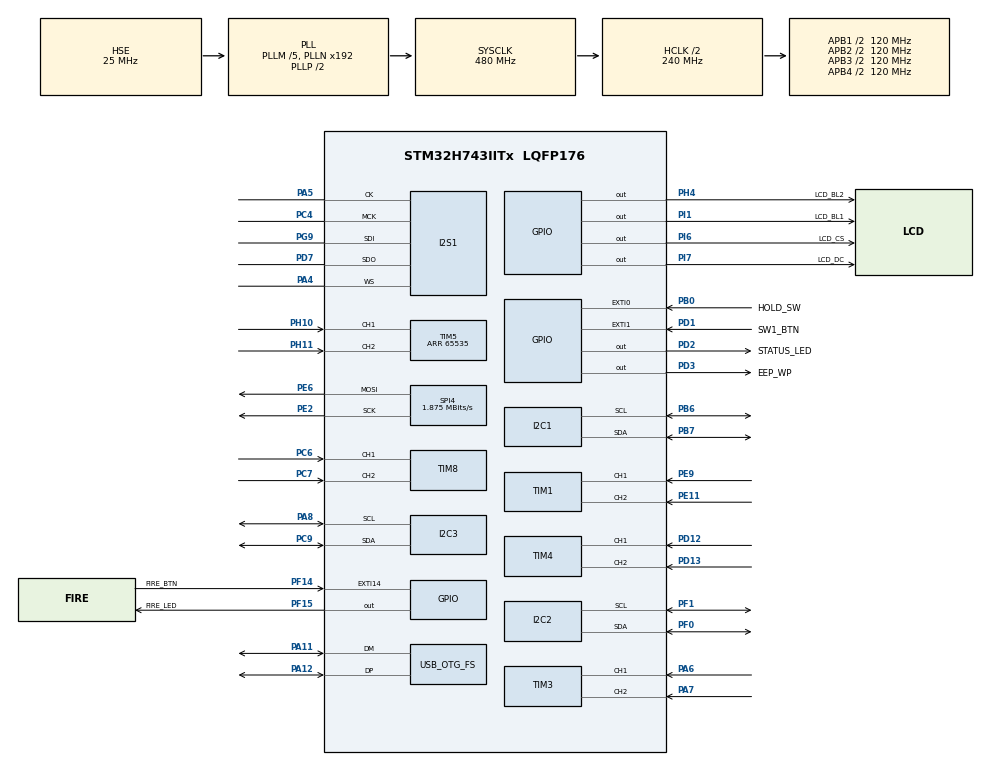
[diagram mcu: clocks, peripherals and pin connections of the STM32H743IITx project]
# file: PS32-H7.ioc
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PD7.Mode=Full_Duplex_Master
Dma.SPI1_TX.0.PeriphInc=DMA_PINC_DISABLE
SPI4.VirtualType=VM_MASTER
I2S1.ErrorAudioFreq=-2.34 %
PI6.GPIO_Label=LCD_CS
RCC.DATA_CACHE_ENABLE=1
I2S1.Instance=SPI$Index
PH10.GPIO_PuPd=GPIO_PULLUP
RCC.SYSCLKSource=RCC_SYSCLKSOURCE_PLLCLK
PD1.GPIO_ModeDefaultEXTI=GPIO_MODE_IT_RISING_FALLING
PA14\ (JTCK/SWCLK).Signal=DEBUG_JTCK-SWCLK
NVIC.EXTI1_IRQn=true\:0\:0\:false\:false\:true\:true\:false
PA4.Mode=Full_Duplex_Master
NVIC.TIM5_IRQn=true\:0\:0\:false\:false\:true\:true\:false
PE2.Mode=TX_Only_Simplex_Unidirect_Master
PB6.Signal=I2C1_SCL
PC7.Signal=S_TIM8_CH2
PB6.Mode=I2C
RCC.PREFETCH_ENABLE=1
RCC.DIVM1=5
PD1.GPIO_Label=SW1_BTN
PE9.Signal=S_TIM1_CH1
PI6.Signal=GPIO_Output
PC9.Mode=I2C
SH.S_TIM4_CH2.0=TIM4_CH2,Encoder_Interface
PE2.Signal=SPI4_SCK
PA8.Signal=I2C3_SCL
PA14\ (JTCK/SWCLK).Mode=Trace_Asynchronous_SW
Dma.SPI1_TX.0.RequestNumber=1
Dma.SPI1_TX.0.Polarity=HAL_DMAMUX_REQ_GEN_RISING
PF1.GPIO_Speed=GPIO_SPEED_FREQ_VERY_HIGH
Dma.SPI1_TX.0.Mode=DMA_CIRCULAR
Mcu.Package=LQFP176
Dma.SPI1_TX.0.SyncEnable=DISABLE
PD12.Signal=S_TIM4_CH1
PC6.GPIO_PuPd=GPIO_PULLUP
SH.S_TIM4_CH1.0=TIM4_CH1,Encoder_Interface
RCC.APB4Freq_Value=120000000
PF14.Signal=GPXTI14
PF15.PinState=GPIO_PIN_RESET
PH0-OSC_IN\ (PH0).Mode=HSE-External-Oscillator
PC4.Mode=Master_Clock_Activated
PA5.Mode=Full_Duplex_Master
RCC.DIVQ1=8
USB_DEVICE.VirtualMode-AUDIO_FS=Audio
PG9.Signal=I2S1_SDI
PD3.Signal=GPIO_Output
PG9.Mode=Full_Duplex_Master
PC6.Signal=S_TIM8_CH1
PD7.Signal=I2S1_SDO
PD1.Signal=GPXTI1
PF14.GPIO_Label=FIRE_BTN
SH.S_TIM8_CH2.0=TIM8_CH2,Encoder_Interface
PF1.Mode=I2C
Dma.SPI1_TX.0.FIFOMode=DMA_FIFOMODE_ENABLE
I2C1.Timing=0x307075B1
RCC.DIVN1=192
Dma.SPI1_TX.0.SyncPolarity=HAL_DMAMUX_SYNC_NO_EVENT
PC7.GPIO_PuPd=GPIO_PULLUP
RCC.USBCLockSelection=RCC_USBCLKSOURCE_HSI48
PA5.Signal=I2S1_CK
SH.S_TIM8_CH1.0=TIM8_CH1,Encoder_Interface
NVIC.TIM3_IRQn=true\:0\:0\:false\:false\:true\:true\:false
PI7.Signal=GPIO_Output
PE6.Mode=TX_Only_Simplex_Unidirect_Master
PI1.Signal=GPIO_Output
PF14.GPIO_ModeDefaultEXTI=GPIO_MODE_IT_RISING_FALLING
Dma.SPI1_TX.0.Instance=DMA1_Stream0
I2S1.FullDuplexMode=I2S_MODE_MASTER_FD
NVIC.TIM1_CC_IRQn=true\:0\:0\:false\:false\:true\:true\:false
PA4.Signal=I2S1_WS
PA11.Signal=USB_OTG_FS_DM
ProjectManager.HeapSize=0x200
NVIC.TIM8_UP_TIM13_IRQn=true\:0\:0\:false\:false\:true\:true\:true
NVIC.PriorityGroup=NVIC_PRIORITYGROUP_4
PB3\ (JTDO/TRACESWO).Mode=Trace_Asynchronous_SW
Dma.SPI1_TX.0.PeriphBurst=DMA_PBURST_SINGLE
PA8.Mode=I2C
PD2.Signal=GPIO_Output
PB0.Signal=GPXTI0
PD2.GPIO_Label=STATUS_LED
PA13\ (JTMS/SWDIO).Signal=DEBUG_JTMS-SWDIO
PI1.GPIO_Label=LCD_BL1
Mcu.Family=STM32H7
Dma.SPI1_TX.0.MemInc=DMA_MINC_ENABLE
USB_DEVICE.CLASS_NAME_FS=AUDIO
Dma.SPI1_TX.0.EventEnable=DISABLE
RCC.CortexFreq_Value=480000000
PH10.Signal=S_TIM5_CH1
RCC.HPRE=RCC_HCLK_DIV2
PH0-OSC_IN\ (PH0).Signal=RCC_OSC_IN
TIM4.EncoderMode=TIM_ENCODERMODE_TI12
TIM5.EncoderMode=TIM_ENCODERMODE_TI12
SPI4.Direction=SPI_DIRECTION_2LINES_TXONLY
I2C2.Timing=0x307075B1
TIM3.EncoderMode=TIM_ENCODERMODE_TI12
SH.S_TIM5_CH2.0=TIM5_CH2,Encoder_Interface
TIM1.EncoderMode=TIM_ENCODERMODE_TI12
TIM8.EncoderMode=TIM_ENCODERMODE_TI12
PA11.Mode=Device_Only
PB0.GPIO_Label=HOLD_SW
Dma.SPI1_TX.0.SyncRequestNumber=1
ProjectManager.StackSize=0x400
PH11.GPIO_PuPd=GPIO_PULLUP
PD13.Signal=S_TIM4_CH2
PA12.Signal=USB_OTG_FS_DP
SPI4.Mode=SPI_MODE_MASTER
PE11.GPIO_PuPd=GPIO_PULLUP
RCC.HCLKFreq_Value=240000000
PH1-OSC_OUT\ (PH1).Mode=HSE-External-Oscillator
PA6.GPIO_PuPd=GPIO_PULLUP
PB7.Signal=I2C1_SDA
SH.S_TIM3_CH1.0=TIM3_CH1,Encoder_Interface
SPI4.BaudRatePrescaler=SPI_BAUDRATEPRESCALER_64
RCC.APB3Freq_Value=120000000
PA6.Signal=S_TIM3_CH1
RCC.D1PPRE=RCC_APB3_DIV2
I2S1.FirstBit=I2S_FIRSTBIT_LSB
NVIC.OTG_FS_IRQn=true\:0\:0\:false\:false\:true\:false\:true
USB_OTG_FS.VirtualMode=Device_Only
I2C3.Timing=0x307075B1
SH.S_TIM5_CH1.0=TIM5_CH1,Encoder_Interface
NVIC.DMA1_Stream0_IRQn=true\:0\:0\:false\:false\:true\:false\:true
PF0.Signal=I2C2_SDA
PD3.GPIO_Label=EEP_WP
Dma.SPI1_TX.0.SyncSignalID=NONE
Dma.Request0=SPI1_TX
RCC.PLLSourceVirtual=RCC_PLLSOURCE_HSE
PA13\ (JTMS/SWDIO).Mode=Trace_Asynchronous_SW
PH11.Signal=S_TIM5_CH2
SPI4.DataSize=SPI_DATASIZE_8BIT
USB_DEVICE.VirtualModeFS=Audio_FS
PC4.Signal=I2S1_MCK
RCC.D2PPRE2=RCC_APB2_DIV2
RCC.D2PPRE1=RCC_APB1_DIV2
I2S1.AudioFreq=I2S_AUDIOFREQ_48K
Dma.SPI1_TX.0.MemBurst=DMA_MBURST_SINGLE
VP_RNG_VS_RNG.Mode=RNG_Activate
PH1-OSC_OUT\ (PH1).Signal=RCC_OSC_OUT
Dma.SPI1_TX.0.SignalID=NONE
PF0.GPIO_Speed=GPIO_SPEED_FREQ_VERY_HIGH
Dma.SPI1_TX.0.FIFOThreshold=DMA_FIFO_THRESHOLD_FULL
NVIC.TIM8_CC_IRQn=true\:0\:0\:false\:false\:true\:true\:false
SH.S_TIM1_CH1.0=TIM1_CH1,Encoder_Interface
PH4.Signal=GPIO_Output
PB3\ (JTDO/TRACESWO).Signal=DEBUG_JTDO-SWO
ProjectManager.TargetToolchain=STM32CubeIDE
Dma.SPI1_TX.0.PeriphDataAlignment=DMA_PDATAALIGN_HALFWORD
Dma.SPI1_TX.0.Direction=DMA_MEMORY_TO_PERIPH
I2S1.VirtualMode=I2S_MODE_MASTER
RCC.USBFreq_Value=48000000
PE11.Signal=S_TIM1_CH2
PA7.GPIO_PuPd=GPIO_PULLUP
SH.S_TIM3_CH2.0=TIM3_CH2,Encoder_Interface
PD2.PinState=GPIO_PIN_RESET
board=custom
PH4.GPIO_Label=LCD_BL2
RCC.APB2Freq_Value=120000000
SH.S_TIM1_CH2.0=TIM1_CH2,Encoder_Interface
RCC.INSTRUCTION_CACHE_ENABLE=1
RCC.ADCFreq_Value=50390625
PF1.GPIO_PuPd=GPIO_PULLUP
PF15.GPIO_Label=FIRE_LED
PI7.GPIO_Label=LCD_DC
PD13.GPIO_PuPd=GPIO_PULLUP
PF15.Signal=GPIO_Output
SPI4.CalculateBaudRate=1.875 MBits/s
PF1.Signal=I2C2_SCL
VP_USB_DEVICE_VS_USB_DEVICE_AUDIO_FS.Mode=AUDIO_FS
PE6.Signal=SPI4_MOSI
Mcu.Name=STM32H743IITx
RCC.SYSCLKFreq_VALUE=480000000
PF0.GPIO_PuPd=GPIO_PULLUP
PA12.Mode=Device_Only
PB7.Mode=I2C
Dma.SPI1_TX.0.Priority=DMA_PRIORITY_LOW
Dma.SPI1_TX.0.MemDataAlignment=DMA_MDATAALIGN_HALFWORD
PF0.Mode=I2C
RCC.D3PPRE=RCC_APB4_DIV2
TIM5.Period=65535
PC9.Signal=I2C3_SDA
I2S1.RealAudioFreq=46.875 KHz
NVIC.TIM4_IRQn=true\:0\:0\:false\:false\:true\:true\:false
RCC.APB1Freq_Value=120000000
PD12.GPIO_PuPd=GPIO_PULLUP
PA7.Signal=S_TIM3_CH2
PE9.GPIO_PuPd=GPIO_PULLUP

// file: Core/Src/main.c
/* USER CODE BEGIN Header */
/**
  ******************************************************************************
  * @file           : main.c
  * @brief          : Main program body
  ******************************************************************************
  * @attention
  *
  * <h2><center>&copy; Copyright (c) 2021 STMicroelectronics.
  * All rights reserved.</center></h2>
  *
  * This software component is licensed by ST under BSD 3-Clause license,
  * the "License"; You may not use this file except in compliance with the
  * License. You may obtain a copy of the License at:
  *                        opensource.org/licenses/BSD-3-Clause
  *
  ******************************************************************************
  */
/* USER CODE END Header */
#include "main.h"
#include "usb_device.h"

/* USER CODE BEGIN Includes */
#include "maincpp.h"
/* USER CODE END Includes */

I2C_HandleTypeDef hi2c1;
I2C_HandleTypeDef hi2c2;
I2C_HandleTypeDef hi2c3;

I2S_HandleTypeDef hi2s1;
DMA_HandleTypeDef hdma_spi1_tx;

RNG_HandleTypeDef hrng;

TIM_HandleTypeDef htim1;
SPI_HandleTypeDef hspi4;

TIM_HandleTypeDef htim3;
TIM_HandleTypeDef htim4;
TIM_HandleTypeDef htim5;
TIM_HandleTypeDef htim8;

void SystemClock_Config(void);
static void MX_GPIO_Init(void);
static void MX_DMA_Init(void);
static void MX_I2C1_Init(void);
static void MX_I2C2_Init(void);
static void MX_RNG_Init(void);
static void MX_TIM1_Init(void);
static void MX_TIM3_Init(void);
static void MX_TIM4_Init(void);
static void MX_TIM5_Init(void);
static void MX_I2S1_Init(void);
static void MX_SPI4_Init(void);
static void MX_TIM8_Init(void);
static void MX_I2C3_Init(void);

/* USER CODE BEGIN 0 */
int nLoop = 0;

bool demoMode = true;
bool freeze = false;
bool sequencerIsOn = false;
/* USER CODE END 0 */

int main(void)
{

  /* MCU Configuration--------------------------------------------------------*/

  /* Reset of all peripherals, Initializes the Flash interface and the Systick. */
  HAL_Init();

  /* Configure the system clock */
  SystemClock_Config();

  /* Initialize all configured peripherals */
  MX_GPIO_Init();
  MX_DMA_Init();
  MX_I2C1_Init();
  MX_I2C2_Init();
  MX_RNG_Init();
  MX_TIM1_Init();
  MX_TIM3_Init();
  MX_TIM4_Init();
  MX_TIM5_Init();
  MX_USB_DEVICE_Init();
  MX_I2S1_Init();
  MX_SPI4_Init();
  MX_TIM8_Init();
  MX_I2C3_Init();
  /* USER CODE BEGIN 2 */

  HAL_GPIO_WritePin(LCD_BL1_GPIO_Port, LCD_BL1_Pin, GPIO_PIN_SET);
  HAL_GPIO_WritePin(LCD_BL2_GPIO_Port, LCD_BL2_Pin, GPIO_PIN_SET);

  // Start the Encoder Timers
  HAL_TIM_Base_Start_IT(&htim1);
  HAL_TIM_Encoder_Start_IT(&htim1, TIM_CHANNEL_ALL);
  HAL_TIM_Base_Start_IT(&htim3);
  HAL_TIM_Encoder_Start_IT(&htim3, TIM_CHANNEL_ALL);
  HAL_TIM_Base_Start_IT(&htim4);
  HAL_TIM_Encoder_Start_IT(&htim4, TIM_CHANNEL_ALL);
  HAL_TIM_Base_Start_IT(&htim5);
  HAL_TIM_Encoder_Start_IT(&htim5, TIM_CHANNEL_ALL);
  HAL_TIM_Base_Start_IT(&htim8);
  HAL_TIM_Encoder_Start_IT(&htim8, TIM_CHANNEL_ALL);

  PS_Communication_Interface comms;
  comms.i2c = &hi2c2;
  comms.i2s = &hi2s1;
//  comms.uart = &huart1;

  PS_Encoder_Timers enc;
  enc.encoder1 = &htim1;
  enc.encoder2 = &htim3;
  enc.encoder3 = &htim4;
  enc.encoder4 = &htim5;
  enc.encoderNav = &htim8;

  LCD_GPIO lcd;
  lcd.CEPORT = LCD_CS_GPIO_Port;
  lcd.CEPIN = LCD_CS_Pin;
  lcd.DCPORT = LCD_DC_GPIO_Port;
  lcd.DCPIN = LCD_DC_Pin;
  lcd.SPICH = &hspi4;

  maincpp(&comms, &enc, &lcd); /// we can't use c++ reference here
  /* USER CODE END 2 */

  /* Infinite loop */
  while (1)
  {

  }
}

void SystemClock_Config(void)
{
  RCC_OscInitTypeDef RCC_OscInitStruct = {0};
  RCC_ClkInitTypeDef RCC_ClkInitStruct = {0};

  /** Supply configuration update enable
  */
  HAL_PWREx_ConfigSupply(PWR_LDO_SUPPLY);
  /** Configure the main internal regulator output voltage
  */
  __HAL_PWR_VOLTAGESCALING_CONFIG(PWR_REGULATOR_VOLTAGE_SCALE0);

  while(!__HAL_PWR_GET_FLAG(PWR_FLAG_VOSRDY)) {}
  /** Initializes the RCC Oscillators according to the specified parameters
  * in the RCC_OscInitTypeDef structure.
  */
  RCC_OscInitStruct.OscillatorType = RCC_OSCILLATORTYPE_HSI48|RCC_OSCILLATORTYPE_HSE;
  RCC_OscInitStruct.HSEState = RCC_HSE_ON;
  RCC_OscInitStruct.HSI48State = RCC_HSI48_ON;
  RCC_OscInitStruct.PLL.PLLState = RCC_PLL_ON;
  RCC_OscInitStruct.PLL.PLLSource = RCC_PLLSOURCE_HSE;
  RCC_OscInitStruct.PLL.PLLM = 5;
  RCC_OscInitStruct.PLL.PLLN = 192;
  RCC_OscInitStruct.PLL.PLLP = 2;
  RCC_OscInitStruct.PLL.PLLQ = 8;
  RCC_OscInitStruct.PLL.PLLR = 2;
  RCC_OscInitStruct.PLL.PLLRGE = RCC_PLL1VCIRANGE_2;
  RCC_OscInitStruct.PLL.PLLVCOSEL = RCC_PLL1VCOWIDE;
  RCC_OscInitStruct.PLL.PLLFRACN = 0;
  if (HAL_RCC_OscConfig(&RCC_OscInitStruct) != HAL_OK)
  {
    Error_Handler();
  }
  /** Initializes the CPU, AHB and APB buses clocks
  */
  RCC_ClkInitStruct.ClockType = RCC_CLOCKTYPE_HCLK|RCC_CLOCKTYPE_SYSCLK
                              |RCC_CLOCKTYPE_PCLK1|RCC_CLOCKTYPE_PCLK2
                              |RCC_CLOCKTYPE_D3PCLK1|RCC_CLOCKTYPE_D1PCLK1;
  RCC_ClkInitStruct.SYSCLKSource = RCC_SYSCLKSOURCE_PLLCLK;
  RCC_ClkInitStruct.SYSCLKDivider = RCC_SYSCLK_DIV1;
  RCC_ClkInitStruct.AHBCLKDivider = RCC_HCLK_DIV2;
  RCC_ClkInitStruct.APB3CLKDivider = RCC_APB3_DIV2;
  RCC_ClkInitStruct.APB1CLKDivider = RCC_APB1_DIV2;
  RCC_ClkInitStruct.APB2CLKDivider = RCC_APB2_DIV2;
  RCC_ClkInitStruct.APB4CLKDivider = RCC_APB4_DIV2;

  if (HAL_RCC_ClockConfig(&RCC_ClkInitStruct, FLASH_LATENCY_4) != HAL_OK)
  {
    Error_Handler();
  }
}

static void MX_I2C1_Init(void)
{

  hi2c1.Instance = I2C1;
  hi2c1.Init.Timing = 0x307075B1;
  hi2c1.Init.OwnAddress1 = 0;
  hi2c1.Init.AddressingMode = I2C_ADDRESSINGMODE_7BIT;
  hi2c1.Init.DualAddressMode = I2C_DUALADDRESS_DISABLE;
  hi2c1.Init.OwnAddress2 = 0;
  hi2c1.Init.OwnAddress2Masks = I2C_OA2_NOMASK;
  hi2c1.Init.GeneralCallMode = I2C_GENERALCALL_DISABLE;
  hi2c1.Init.NoStretchMode = I2C_NOSTRETCH_DISABLE;
  if (HAL_I2C_Init(&hi2c1) != HAL_OK)
  {
    Error_Handler();
  }
  /** Configure Analogue filter
  */
  if (HAL_I2CEx_ConfigAnalogFilter(&hi2c1, I2C_ANALOGFILTER_ENABLE) != HAL_OK)
  {
    Error_Handler();
  }
  /** Configure Digital filter
  */
  if (HAL_I2CEx_ConfigDigitalFilter(&hi2c1, 0) != HAL_OK)
  {
    Error_Handler();
  }

}

static void MX_I2C2_Init(void)
{

  hi2c2.Instance = I2C2;
  hi2c2.Init.Timing = 0x307075B1;
  hi2c2.Init.OwnAddress1 = 0;
  hi2c2.Init.AddressingMode = I2C_ADDRESSINGMODE_7BIT;
  hi2c2.Init.DualAddressMode = I2C_DUALADDRESS_DISABLE;
  hi2c2.Init.OwnAddress2 = 0;
  hi2c2.Init.OwnAddress2Masks = I2C_OA2_NOMASK;
  hi2c2.Init.GeneralCallMode = I2C_GENERALCALL_DISABLE;
  hi2c2.Init.NoStretchMode = I2C_NOSTRETCH_DISABLE;
  if (HAL_I2C_Init(&hi2c2) != HAL_OK)
  {
    Error_Handler();
  }
  /** Configure Analogue filter
  */
  if (HAL_I2CEx_ConfigAnalogFilter(&hi2c2, I2C_ANALOGFILTER_ENABLE) != HAL_OK)
  {
    Error_Handler();
  }
  /** Configure Digital filter
  */
  if (HAL_I2CEx_ConfigDigitalFilter(&hi2c2, 0) != HAL_OK)
  {
    Error_Handler();
  }

}

static void MX_I2C3_Init(void)
{

  hi2c3.Instance = I2C3;
  hi2c3.Init.Timing = 0x307075B1;
  hi2c3.Init.OwnAddress1 = 0;
  hi2c3.Init.AddressingMode = I2C_ADDRESSINGMODE_7BIT;
  hi2c3.Init.DualAddressMode = I2C_DUALADDRESS_DISABLE;
  hi2c3.Init.OwnAddress2 = 0;
  hi2c3.Init.OwnAddress2Masks = I2C_OA2_NOMASK;
  hi2c3.Init.GeneralCallMode = I2C_GENERALCALL_DISABLE;
  hi2c3.Init.NoStretchMode = I2C_NOSTRETCH_DISABLE;
  if (HAL_I2C_Init(&hi2c3) != HAL_OK)
  {
    Error_Handler();
  }
  /** Configure Analogue filter
  */
  if (HAL_I2CEx_ConfigAnalogFilter(&hi2c3, I2C_ANALOGFILTER_ENABLE) != HAL_OK)
  {
    Error_Handler();
  }
  /** Configure Digital filter
  */
  if (HAL_I2CEx_ConfigDigitalFilter(&hi2c3, 0) != HAL_OK)
  {
    Error_Handler();
  }

}

static void MX_I2S1_Init(void)
{

  hi2s1.Instance = SPI1;
  hi2s1.Init.Mode = I2S_MODE_MASTER_TX;
  hi2s1.Init.Standard = I2S_STANDARD_PHILIPS;
  hi2s1.Init.DataFormat = I2S_DATAFORMAT_16B;
  hi2s1.Init.MCLKOutput = I2S_MCLKOUTPUT_ENABLE;
  hi2s1.Init.AudioFreq = I2S_AUDIOFREQ_48K;
  hi2s1.Init.CPOL = I2S_CPOL_LOW;
  hi2s1.Init.FirstBit = I2S_FIRSTBIT_LSB;
  hi2s1.Init.WSInversion = I2S_WS_INVERSION_DISABLE;
  hi2s1.Init.Data24BitAlignment = I2S_DATA_24BIT_ALIGNMENT_RIGHT;
  hi2s1.Init.MasterKeepIOState = I2S_MASTER_KEEP_IO_STATE_DISABLE;
  if (HAL_I2S_Init(&hi2s1) != HAL_OK)
  {
    Error_Handler();
  }

}

static void MX_RNG_Init(void)
{

  hrng.Instance = RNG;
  hrng.Init.ClockErrorDetection = RNG_CED_ENABLE;
  if (HAL_RNG_Init(&hrng) != HAL_OK)
  {
    Error_Handler();
  }

}

static void MX_SPI4_Init(void)
{

  /* SPI4 parameter configuration*/
  hspi4.Instance = SPI4;
  hspi4.Init.Mode = SPI_MODE_MASTER;
  hspi4.Init.Direction = SPI_DIRECTION_2LINES_TXONLY;
  hspi4.Init.DataSize = SPI_DATASIZE_8BIT;
  hspi4.Init.CLKPolarity = SPI_POLARITY_LOW;
  hspi4.Init.CLKPhase = SPI_PHASE_1EDGE;
  hspi4.Init.NSS = SPI_NSS_SOFT;
  hspi4.Init.BaudRatePrescaler = SPI_BAUDRATEPRESCALER_64;
  hspi4.Init.FirstBit = SPI_FIRSTBIT_MSB;
  hspi4.Init.TIMode = SPI_TIMODE_DISABLE;
  hspi4.Init.CRCCalculation = SPI_CRCCALCULATION_DISABLE;
  hspi4.Init.CRCPolynomial = 0x0;
  hspi4.Init.NSSPMode = SPI_NSS_PULSE_ENABLE;
  hspi4.Init.NSSPolarity = SPI_NSS_POLARITY_LOW;
  hspi4.Init.FifoThreshold = SPI_FIFO_THRESHOLD_01DATA;
  hspi4.Init.TxCRCInitializationPattern = SPI_CRC_INITIALIZATION_ALL_ZERO_PATTERN;
  hspi4.Init.RxCRCInitializationPattern = SPI_CRC_INITIALIZATION_ALL_ZERO_PATTERN;
  hspi4.Init.MasterSSIdleness = SPI_MASTER_SS_IDLENESS_00CYCLE;
  hspi4.Init.MasterInterDataIdleness = SPI_MASTER_INTERDATA_IDLENESS_00CYCLE;
  hspi4.Init.MasterReceiverAutoSusp = SPI_MASTER_RX_AUTOSUSP_DISABLE;
  hspi4.Init.MasterKeepIOState = SPI_MASTER_KEEP_IO_STATE_DISABLE;
  hspi4.Init.IOSwap = SPI_IO_SWAP_DISABLE;
  if (HAL_SPI_Init(&hspi4) != HAL_OK)
  {
    Error_Handler();
  }

}

static void MX_TIM1_Init(void)
{

  TIM_Encoder_InitTypeDef sConfig = {0};
  TIM_MasterConfigTypeDef sMasterConfig = {0};

  htim1.Instance = TIM1;
  htim1.Init.Prescaler = 0;
  htim1.Init.CounterMode = TIM_COUNTERMODE_UP;
  htim1.Init.Period = 65535;
  htim1.Init.ClockDivision = TIM_CLOCKDIVISION_DIV1;
  htim1.Init.RepetitionCounter = 0;
  htim1.Init.AutoReloadPreload = TIM_AUTORELOAD_PRELOAD_DISABLE;
  sConfig.EncoderMode = TIM_ENCODERMODE_TI12;
  sConfig.IC1Polarity = TIM_ICPOLARITY_RISING;
  sConfig.IC1Selection = TIM_ICSELECTION_DIRECTTI;
  sConfig.IC1Prescaler = TIM_ICPSC_DIV1;
  sConfig.IC1Filter = 0;
  sConfig.IC2Polarity = TIM_ICPOLARITY_RISING;
  sConfig.IC2Selection = TIM_ICSELECTION_DIRECTTI;
  sConfig.IC2Prescaler = TIM_ICPSC_DIV1;
  sConfig.IC2Filter = 0;
  if (HAL_TIM_Encoder_Init(&htim1, &sConfig) != HAL_OK)
  {
    Error_Handler();
  }
  sMasterConfig.MasterOutputTrigger = TIM_TRGO_RESET;
  sMasterConfig.MasterOutputTrigger2 = TIM_TRGO2_RESET;
  sMasterConfig.MasterSlaveMode = TIM_MASTERSLAVEMODE_DISABLE;
  if (HAL_TIMEx_MasterConfigSynchronization(&htim1, &sMasterConfig) != HAL_OK)
  {
    Error_Handler();
  }

}

static void MX_TIM3_Init(void)
{

  TIM_Encoder_InitTypeDef sConfig = {0};
  TIM_MasterConfigTypeDef sMasterConfig = {0};

  htim3.Instance = TIM3;
  htim3.Init.Prescaler = 0;
  htim3.Init.CounterMode = TIM_COUNTERMODE_UP;
  htim3.Init.Period = 65535;
  htim3.Init.ClockDivision = TIM_CLOCKDIVISION_DIV1;
  htim3.Init.AutoReloadPreload = TIM_AUTORELOAD_PRELOAD_DISABLE;
  sConfig.EncoderMode = TIM_ENCODERMODE_TI12;
  sConfig.IC1Polarity = TIM_ICPOLARITY_RISING;
  sConfig.IC1Selection = TIM_ICSELECTION_DIRECTTI;
  sConfig.IC1Prescaler = TIM_ICPSC_DIV1;
  sConfig.IC1Filter = 0;
  sConfig.IC2Polarity = TIM_ICPOLARITY_RISING;
  sConfig.IC2Selection = TIM_ICSELECTION_DIRECTTI;
  sConfig.IC2Prescaler = TIM_ICPSC_DIV1;
  sConfig.IC2Filter = 0;
  if (HAL_TIM_Encoder_Init(&htim3, &sConfig) != HAL_OK)
  {
    Error_Handler();
  }
  sMasterConfig.MasterOutputTrigger = TIM_TRGO_RESET;
  sMasterConfig.MasterSlaveMode = TIM_MASTERSLAVEMODE_DISABLE;
  if (HAL_TIMEx_MasterConfigSynchronization(&htim3, &sMasterConfig) != HAL_OK)
  {
    Error_Handler();
  }

}

static void MX_TIM4_Init(void)
{

  TIM_Encoder_InitTypeDef sConfig = {0};
  TIM_MasterConfigTypeDef sMasterConfig = {0};

  htim4.Instance = TIM4;
  htim4.Init.Prescaler = 0;
  htim4.Init.CounterMode = TIM_COUNTERMODE_UP;
  htim4.Init.Period = 65535;
  htim4.Init.ClockDivision = TIM_CLOCKDIVISION_DIV1;
  htim4.Init.AutoReloadPreload = TIM_AUTORELOAD_PRELOAD_DISABLE;
  sConfig.EncoderMode = TIM_ENCODERMODE_TI12;
  sConfig.IC1Polarity = TIM_ICPOLARITY_RISING;
  sConfig.IC1Selection = TIM_ICSELECTION_DIRECTTI;
  sConfig.IC1Prescaler = TIM_ICPSC_DIV1;
  sConfig.IC1Filter = 0;
  sConfig.IC2Polarity = TIM_ICPOLARITY_RISING;
  sConfig.IC2Selection = TIM_ICSELECTION_DIRECTTI;
  sConfig.IC2Prescaler = TIM_ICPSC_DIV1;
  sConfig.IC2Filter = 0;
  if (HAL_TIM_Encoder_Init(&htim4, &sConfig) != HAL_OK)
  {
    Error_Handler();
  }
  sMasterConfig.MasterOutputTrigger = TIM_TRGO_RESET;
  sMasterConfig.MasterSlaveMode = TIM_MASTERSLAVEMODE_DISABLE;
  if (HAL_TIMEx_MasterConfigSynchronization(&htim4, &sMasterConfig) != HAL_OK)
  {
    Error_Handler();
  }

}

static void MX_TIM5_Init(void)
{

  TIM_Encoder_InitTypeDef sConfig = {0};
  TIM_MasterConfigTypeDef sMasterConfig = {0};

  htim5.Instance = TIM5;
  htim5.Init.Prescaler = 0;
  htim5.Init.CounterMode = TIM_COUNTERMODE_UP;
  htim5.Init.Period = 65535;
  htim5.Init.ClockDivision = TIM_CLOCKDIVISION_DIV1;
  htim5.Init.AutoReloadPreload = TIM_AUTORELOAD_PRELOAD_DISABLE;
  sConfig.EncoderMode = TIM_ENCODERMODE_TI12;
  sConfig.IC1Polarity = TIM_ICPOLARITY_RISING;
  sConfig.IC1Selection = TIM_ICSELECTION_DIRECTTI;
  sConfig.IC1Prescaler = TIM_ICPSC_DIV1;
  sConfig.IC1Filter = 0;
  sConfig.IC2Polarity = TIM_ICPOLARITY_RISING;
  sConfig.IC2Selection = TIM_ICSELECTION_DIRECTTI;
  sConfig.IC2Prescaler = TIM_ICPSC_DIV1;
  sConfig.IC2Filter = 0;
  if (HAL_TIM_Encoder_Init(&htim5, &sConfig) != HAL_OK)
  {
    Error_Handler();
  }
  sMasterConfig.MasterOutputTrigger = TIM_TRGO_RESET;
  sMasterConfig.MasterSlaveMode = TIM_MASTERSLAVEMODE_DISABLE;
  if (HAL_TIMEx_MasterConfigSynchronization(&htim5, &sMasterConfig) != HAL_OK)
  {
    Error_Handler();
  }

}

static void MX_TIM8_Init(void)
{

  TIM_Encoder_InitTypeDef sConfig = {0};
  TIM_MasterConfigTypeDef sMasterConfig = {0};

  htim8.Instance = TIM8;
  htim8.Init.Prescaler = 0;
  htim8.Init.CounterMode = TIM_COUNTERMODE_UP;
  htim8.Init.Period = 65535;
  htim8.Init.ClockDivision = TIM_CLOCKDIVISION_DIV1;
  htim8.Init.RepetitionCounter = 0;
  htim8.Init.AutoReloadPreload = TIM_AUTORELOAD_PRELOAD_DISABLE;
  sConfig.EncoderMode = TIM_ENCODERMODE_TI12;
  sConfig.IC1Polarity = TIM_ICPOLARITY_RISING;
  sConfig.IC1Selection = TIM_ICSELECTION_DIRECTTI;
  sConfig.IC1Prescaler = TIM_ICPSC_DIV1;
  sConfig.IC1Filter = 0;
  sConfig.IC2Polarity = TIM_ICPOLARITY_RISING;
  sConfig.IC2Selection = TIM_ICSELECTION_DIRECTTI;
  sConfig.IC2Prescaler = TIM_ICPSC_DIV1;
  sConfig.IC2Filter = 0;
  if (HAL_TIM_Encoder_Init(&htim8, &sConfig) != HAL_OK)
  {
    Error_Handler();
  }
  sMasterConfig.MasterOutputTrigger = TIM_TRGO_RESET;
  sMasterConfig.MasterOutputTrigger2 = TIM_TRGO2_RESET;
  sMasterConfig.MasterSlaveMode = TIM_MASTERSLAVEMODE_DISABLE;
  if (HAL_TIMEx_MasterConfigSynchronization(&htim8, &sMasterConfig) != HAL_OK)
  {
    Error_Handler();
  }

}

static void MX_DMA_Init(void)
{

  /* DMA controller clock enable */
  __HAL_RCC_DMA1_CLK_ENABLE();

  /* DMA interrupt init */
  /* DMA1_Stream0_IRQn interrupt configuration */
  HAL_NVIC_SetPriority(DMA1_Stream0_IRQn, 0, 0);
  HAL_NVIC_EnableIRQ(DMA1_Stream0_IRQn);

}

static void MX_GPIO_Init(void)
{
  GPIO_InitTypeDef GPIO_InitStruct = {0};

  /* GPIO Ports Clock Enable */
  __HAL_RCC_GPIOE_CLK_ENABLE();
  __HAL_RCC_GPIOF_CLK_ENABLE();
  __HAL_RCC_GPIOH_CLK_ENABLE();
  __HAL_RCC_GPIOA_CLK_ENABLE();
  __HAL_RCC_GPIOC_CLK_ENABLE();
  __HAL_RCC_GPIOB_CLK_ENABLE();
  __HAL_RCC_GPIOD_CLK_ENABLE();
  __HAL_RCC_GPIOI_CLK_ENABLE();
  __HAL_RCC_GPIOG_CLK_ENABLE();

  /*Configure GPIO pin Output Level */
  HAL_GPIO_WritePin(LCD_BL2_GPIO_Port, LCD_BL2_Pin, GPIO_PIN_RESET);

  /*Configure GPIO pin Output Level */
  HAL_GPIO_WritePin(FIRE_LED_GPIO_Port, FIRE_LED_Pin, GPIO_PIN_RESET);

  /*Configure GPIO pin Output Level */
  HAL_GPIO_WritePin(GPIOI, LCD_BL1_Pin|LCD_CS_Pin|LCD_DC_Pin, GPIO_PIN_RESET);

  /*Configure GPIO pin Output Level */
  HAL_GPIO_WritePin(GPIOD, STATUS_LED_Pin|EEP_WP_Pin, GPIO_PIN_RESET);

  /*Configure GPIO pin : LCD_BL2_Pin */
  GPIO_InitStruct.Pin = LCD_BL2_Pin;
  GPIO_InitStruct.Mode = GPIO_MODE_OUTPUT_PP;
  GPIO_InitStruct.Pull = GPIO_NOPULL;
  GPIO_InitStruct.Speed = GPIO_SPEED_FREQ_LOW;
  HAL_GPIO_Init(LCD_BL2_GPIO_Port, &GPIO_InitStruct);

  /*Configure GPIO pin : HOLD_SW_Pin */
  GPIO_InitStruct.Pin = HOLD_SW_Pin;
  GPIO_InitStruct.Mode = GPIO_MODE_IT_RISING;
  GPIO_InitStruct.Pull = GPIO_NOPULL;
  HAL_GPIO_Init(HOLD_SW_GPIO_Port, &GPIO_InitStruct);

  /*Configure GPIO pin : FIRE_BTN_Pin */
  GPIO_InitStruct.Pin = FIRE_BTN_Pin;
  GPIO_InitStruct.Mode = GPIO_MODE_IT_RISING_FALLING;
  GPIO_InitStruct.Pull = GPIO_NOPULL;
  HAL_GPIO_Init(FIRE_BTN_GPIO_Port, &GPIO_InitStruct);

  /*Configure GPIO pin : FIRE_LED_Pin */
  GPIO_InitStruct.Pin = FIRE_LED_Pin;
  GPIO_InitStruct.Mode = GPIO_MODE_OUTPUT_PP;
  GPIO_InitStruct.Pull = GPIO_NOPULL;
  GPIO_InitStruct.Speed = GPIO_SPEED_FREQ_LOW;
  HAL_GPIO_Init(FIRE_LED_GPIO_Port, &GPIO_InitStruct);

  /*Configure GPIO pins : LCD_BL1_Pin LCD_CS_Pin LCD_DC_Pin */
  GPIO_InitStruct.Pin = LCD_BL1_Pin|LCD_CS_Pin|LCD_DC_Pin;
  GPIO_InitStruct.Mode = GPIO_MODE_OUTPUT_PP;
  GPIO_InitStruct.Pull = GPIO_NOPULL;
  GPIO_InitStruct.Speed = GPIO_SPEED_FREQ_LOW;
  HAL_GPIO_Init(GPIOI, &GPIO_InitStruct);

  /*Configure GPIO pin : SW1_BTN_Pin */
  GPIO_InitStruct.Pin = SW1_BTN_Pin;
  GPIO_InitStruct.Mode = GPIO_MODE_IT_RISING_FALLING;
  GPIO_InitStruct.Pull = GPIO_NOPULL;
  HAL_GPIO_Init(SW1_BTN_GPIO_Port, &GPIO_InitStruct);

  /*Configure GPIO pins : STATUS_LED_Pin EEP_WP_Pin */
  GPIO_InitStruct.Pin = STATUS_LED_Pin|EEP_WP_Pin;
  GPIO_InitStruct.Mode = GPIO_MODE_OUTPUT_PP;
  GPIO_InitStruct.Pull = GPIO_NOPULL;
  GPIO_InitStruct.Speed = GPIO_SPEED_FREQ_LOW;
  HAL_GPIO_Init(GPIOD, &GPIO_InitStruct);

  /* EXTI interrupt init*/
  HAL_NVIC_SetPriority(EXTI1_IRQn, 0, 0);
  HAL_NVIC_EnableIRQ(EXTI1_IRQn);

}

void Error_Handler(void)
{
  __disable_irq();
  while (1)
  {
  }
}

/************************ (C) COPYRIGHT STMicroelectronics *****END OF FILE****/
